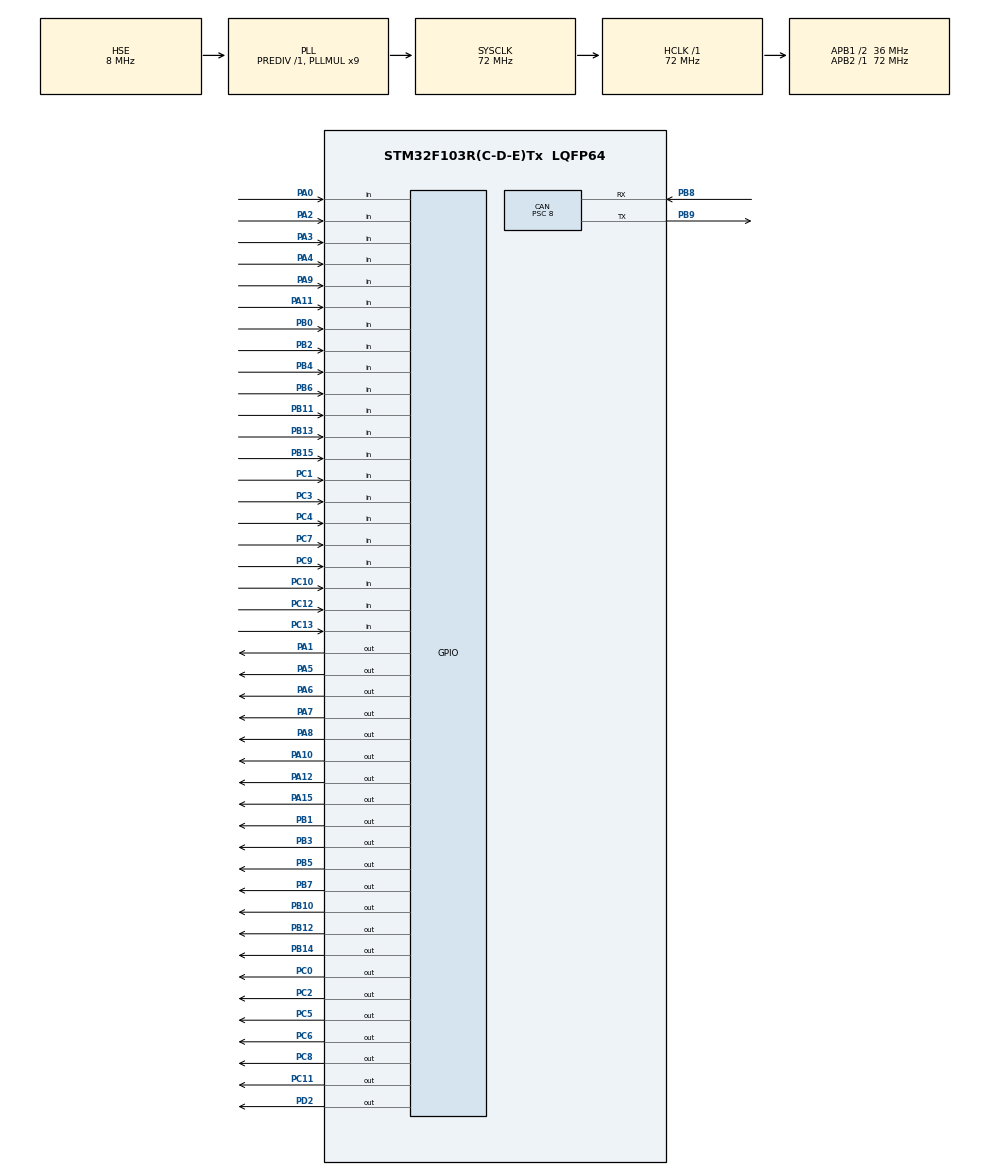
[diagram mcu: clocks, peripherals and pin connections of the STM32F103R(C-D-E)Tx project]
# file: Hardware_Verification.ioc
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CAN.BS1=CAN_BS1_4TQ
CAN.BS2=CAN_BS2_4TQ
CAN.CalculateBaudRate=500000
CAN.CalculateTimeBit=2000
CAN.CalculateTimeQuantum=222.22222222222223
CAN.Prescaler=8
Mcu.Family=STM32F1
Mcu.Name=STM32F103R(C-D-E)Tx
Mcu.Package=LQFP64
NVIC.PriorityGroup=NVIC_PRIORITYGROUP_4
PA0-WKUP.GPIO_PuPd=GPIO_PULLDOWN
PA0-WKUP.Signal=GPIO_Input
PA1.PinState=GPIO_PIN_RESET
PA1.Signal=GPIO_Output
PA10.PinState=GPIO_PIN_RESET
PA10.Signal=GPIO_Output
PA11.GPIO_PuPd=GPIO_PULLUP
PA11.Signal=GPIO_Input
PA12.PinState=GPIO_PIN_RESET
PA12.Signal=GPIO_Output
PA13.Mode=Serial_Wire
PA13.Signal=SYS_JTMS-SWDIO
PA14.Mode=Serial_Wire
PA14.Signal=SYS_JTCK-SWCLK
PA15.PinState=GPIO_PIN_RESET
PA15.Signal=GPIO_Output
PA2.GPIO_PuPd=GPIO_PULLDOWN
PA2.Signal=GPIO_Input
PA3.GPIO_PuPd=GPIO_PULLUP
PA3.Signal=GPIO_Input
PA4.GPIO_PuPd=GPIO_PULLDOWN
PA4.Signal=GPIO_Input
PA5.PinState=GPIO_PIN_RESET
PA5.Signal=GPIO_Output
PA6.PinState=GPIO_PIN_RESET
PA6.Signal=GPIO_Output
PA7.PinState=GPIO_PIN_RESET
PA7.Signal=GPIO_Output
PA8.PinState=GPIO_PIN_RESET
PA8.Signal=GPIO_Output
PA9.GPIO_PuPd=GPIO_PULLUP
PA9.Signal=GPIO_Input
PB0.Signal=GPIO_Input
PB1.Signal=GPIO_Output
PB10.Signal=GPIO_Output
PB11.GPIO_PuPd=GPIO_PULLUP
PB11.Signal=GPIO_Input
PB12.Signal=GPIO_Output
PB13.Signal=GPIO_Input
PB14.Signal=GPIO_Output
PB15.Signal=GPIO_Input
PB2.Signal=GPIO_Input
PB3.Signal=GPIO_Output
PB4.Signal=GPIO_Input
PB5.Signal=GPIO_Output
PB6.Signal=GPIO_Input
PB7.Signal=GPIO_Output
PB8.Mode=CAN_Activate
PB8.Signal=CAN_RX
PB9.Mode=CAN_Activate
PB9.Signal=CAN_TX
PC0.PinState=GPIO_PIN_RESET
PC0.Signal=GPIO_Output
PC1.GPIO_PuPd=GPIO_PULLUP
PC1.Signal=GPIO_Input
PC10.GPIO_PuPd=GPIO_PULLUP
PC10.Signal=GPIO_Input
PC11.PinState=GPIO_PIN_RESET
PC11.Signal=GPIO_Output
PC12.GPIO_PuPd=GPIO_PULLUP
PC12.Signal=GPIO_Input
PC13-TAMPER-RTC.GPIO_PuPd=GPIO_PULLDOWN
PC13-TAMPER-RTC.Signal=GPIO_Input
PC14-OSC32_IN.Mode=LSE-External-Oscillator
PC14-OSC32_IN.Signal=RCC_OSC32_IN
PC15-OSC32_OUT.Mode=LSE-External-Oscillator
PC15-OSC32_OUT.Signal=RCC_OSC32_OUT
PC2.PinState=GPIO_PIN_RESET
PC2.Signal=GPIO_Output
PC3.GPIO_PuPd=GPIO_PULLUP
PC3.Signal=GPIO_Input
PC4.GPIO_PuPd=GPIO_PULLDOWN
PC4.Signal=GPIO_Input
PC5.GPIO_PuPd=GPIO_NOPULL
PC5.PinState=GPIO_PIN_RESET
PC5.Signal=GPIO_Output
PC6.PinState=GPIO_PIN_RESET
PC6.Signal=GPIO_Output
PC7.GPIO_PuPd=GPIO_PULLUP
PC7.Signal=GPIO_Input
PC8.PinState=GPIO_PIN_RESET
PC8.Signal=GPIO_Output
PC9.GPIO_PuPd=GPIO_PULLUP
PC9.Signal=GPIO_Input
PD0-OSC_IN.Mode=HSE-External-Oscillator
PD0-OSC_IN.Signal=RCC_OSC_IN
PD1-OSC_OUT.Mode=HSE-External-Oscillator
PD1-OSC_OUT.Signal=RCC_OSC_OUT
PD2.PinState=GPIO_PIN_RESET
PD2.Signal=GPIO_Output
ProjectManager.HeapSize=0x200
ProjectManager.StackSize=0x400
ProjectManager.TargetToolchain=STM32CubeIDE
RCC.AHBFreq_Value=72000000
RCC.APB1CLKDivider=RCC_HCLK_DIV2
RCC.APB1Freq_Value=36000000
RCC.APB1TimFreq_Value=72000000
RCC.APB2Freq_Value=72000000
RCC.APB2TimFreq_Value=72000000
RCC.HCLKFreq_Value=72000000
RCC.PLLMUL=RCC_PLL_MUL9
RCC.PLLSourceVirtual=RCC_PLLSOURCE_HSE
RCC.SYSCLKFreq_VALUE=72000000
RCC.SYSCLKSource=RCC_SYSCLKSOURCE_PLLCLK
RCC.USBFreq_Value=72000000
board=custom

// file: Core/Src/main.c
/* USER CODE BEGIN Header */
/**
  ******************************************************************************
  * @file           : main.c
  * @brief          : Main program body
  ******************************************************************************
  * @attention
  *
  * Copyright (c) 2025 STMicroelectronics.
  * All rights reserved.
  *
  * This software is licensed under terms that can be found in the LICENSE file
  * in the root directory of this software component.
  * If no LICENSE file comes with this software, it is provided AS-IS.
  *
  ******************************************************************************
  */
/* USER CODE END Header */
#include "main.h"
#include "can.h"
#include "gpio.h"

/* USER CODE BEGIN PTD */
typedef struct {
    GPIO_TypeDef *port;
    uint16_t pin;
    char *name;   // optional, for debug prints
} PinConfig;

typedef struct {
    GPIO_TypeDef *port;
    uint16_t pin;
    char *name;   // optional, for debug prints
    int mode; //0 for reading 1 for writing
} PinConfig_full;
/* USER CODE END PTD */

/* USER CODE BEGIN PV */

PinConfig pins_to_check_VCC[] = {
    {GPIOC, GPIO_PIN_13, "PC13"},
    {GPIOA, GPIO_PIN_4,  "PA4"},
    {GPIOA, GPIO_PIN_0,  "PA0"},	//Pins to check if shorted to VCC

};

PinConfig pins_to_check_GND[] = {
	{GPIOC, GPIO_PIN_3,  "PC3"},	//Pins to check if shorted to GND
    {GPIOA, GPIO_PIN_3,  "PA3"},
    {GPIOB, GPIO_PIN_11, "PB11"}

};

const int PINS_COUNT = sizeof(pins_to_check_VCC)/ sizeof(pins_to_check_VCC[0]); //Checks for length of
																			// Array in the VCC/GND Checks
PinConfig_full pins_full[] = {
    {GPIOC, GPIO_PIN_0,  "PC0",  1},
    {GPIOC, GPIO_PIN_1,  "PC1",  0},
    {GPIOC, GPIO_PIN_2,  "PC2",  1},
    {GPIOC, GPIO_PIN_3,  "PC3",  0},

    {GPIOA, GPIO_PIN_0,  "PA0",  0},
    {GPIOA, GPIO_PIN_1,  "PA1",  1},
    {GPIOA, GPIO_PIN_2,  "PA2",  0},
    {GPIOA, GPIO_PIN_3,  "PA3",  0},
    {GPIOA, GPIO_PIN_4,  "PA4",  0},
    {GPIOA, GPIO_PIN_5,  "PA5",  0},
    {GPIOA, GPIO_PIN_6,  "PA6",  1},
    {GPIOA, GPIO_PIN_7,  "PA7",  1},

    {GPIOC, GPIO_PIN_4,  "PC4",  0},
    {GPIOC, GPIO_PIN_5,  "PC5",  0},

    {GPIOB, GPIO_PIN_0,  "PB0",  0},
    {GPIOB, GPIO_PIN_1,  "PB1",  0},
    {GPIOB, GPIO_PIN_2,  "PB2",  0},
    {GPIOB, GPIO_PIN_10, "PB10", 0},
    {GPIOB, GPIO_PIN_11, "PB11", 0},
    {GPIOB, GPIO_PIN_12, "PB12", 0},		// Pins to check if shorted between other GPIOs
    {GPIOB, GPIO_PIN_13, "PB13", 0},
    {GPIOB, GPIO_PIN_14, "PB14", 0},
    {GPIOB, GPIO_PIN_15, "PB15", 0},

    {GPIOC, GPIO_PIN_6,  "PC6",  1},
    {GPIOC, GPIO_PIN_7,  "PC7",  0},
    {GPIOC, GPIO_PIN_8,  "PC8",  1},
    {GPIOC, GPIO_PIN_9,  "PC9",  0},

    {GPIOA, GPIO_PIN_8,  "PA8",  1},
    {GPIOA, GPIO_PIN_9,  "PA9",  0},
    {GPIOA, GPIO_PIN_10, "PA10", 1},
    {GPIOA, GPIO_PIN_11, "PA11", 0},
    {GPIOA, GPIO_PIN_12, "PA12", 1},
    {GPIOA, GPIO_PIN_15, "PA15", 0},

    {GPIOC, GPIO_PIN_10, "PC10", 0},
    {GPIOC, GPIO_PIN_11, "PC11", 0},
    {GPIOC, GPIO_PIN_12, "PC12", 0},

    {GPIOD, GPIO_PIN_2,  "PD2",  0},

    {GPIOB, GPIO_PIN_3,  "PB3",  0},
    {GPIOB, GPIO_PIN_4,  "PB4",  0},
    {GPIOB, GPIO_PIN_5,  "PB5",  0},
    {GPIOB, GPIO_PIN_6,  "PB6",  0},
    {GPIOB, GPIO_PIN_7,  "PB7",  0}
};

const int PINS_ALL_COUNT = sizeof(pins_full) / sizeof(pins_full[0]);//Checks for length of
int MAX_PINS = 64;													// Array in the GPIO checks

/* USER CODE END PV */

void SystemClock_Config(void);

int main(void)
{

  /* USER CODE BEGIN 1 */

	int short_flag = 0;

  /* USER CODE END 1 */

  /* MCU Configuration--------------------------------------------------------*/

  /* Reset of all peripherals, Initializes the Flash interface and the Systick. */
  HAL_Init();

  /* Configure the system clock */
  SystemClock_Config();

  /* Initialize all configured peripherals */
  MX_GPIO_Init();
  MX_CAN_Init();
  /* USER CODE BEGIN 2 */

  for(int i = 0; i<PINS_COUNT; i++){		//Pins to check for shorts between GPIO and VCC
	  uint8_t state = HAL_GPIO_ReadPin(pins_to_check_VCC[i].port, pins_to_check_VCC[i].pin);
	  if( state == 1 ) {
		  int pin_number = pins_to_check_VCC[i].pin;
		  CAN_tx_transmit_msg(pin_number);
		  short_flag = 1;
	  }

  }

  for(int i = 0; i< PINS_COUNT; i++){		//Pins to check for shorts between GPIO and GND
	  uint8_t state = HAL_GPIO_ReadPin(pins_to_check_GND[i].port, pins_to_check_GND[i].pin);
	  if( state == 0 ) {
		  int pin_number = pins_to_check_GND[i].pin;
		  CAN_tx_transmit_msg(pin_number);
		  short_flag = 1;
	  }
  }

  if(short_flag == 0){

uint8_t base[MAX_PINS];

	for(int i = 0; i<PINS_ALL_COUNT; i++) {

		base[i] = HAL_GPIO_ReadPin(pins_full[i].port, pins_full[i].pin); //All pins are read to this array

	}

	for (int i = 0; i<PINS_ALL_COUNT; i++) {	//Nested loop to check shorts between GPIO pins

		if(pins_full[i].mode == 1) { //If pin is in write mode

			//Outputs High - Checks shorts between pins with Pull-down
			HAL_GPIO_WritePin(pins_full[i].port, pins_full[i].pin, GPIO_PIN_SET);
			HAL_Delay(1);

			for (int j = 0; j<PINS_ALL_COUNT; j++) if( j!= i) {
				uint8_t in_value = HAL_GPIO_ReadPin(pins_full[j].port, pins_full[j].pin);
				if(base[j] == 0 && in_value == 1){ //if statement checks if values being read changed
					  int pin_number = pins_full[i].pin;
						  CAN_tx_transmit_msg(pin_number);
						  short_flag = 1;
				}
			}

			//Outputs Low  - Checks shorts between pins with Pull-up
			HAL_GPIO_WritePin(pins_full[i].port, pins_full[i].pin, GPIO_PIN_RESET);
			HAL_Delay(1);

			for (int j = 0; j<PINS_ALL_COUNT; j++) if( j!= i) {
				uint8_t in_value = HAL_GPIO_ReadPin(pins_full[j].port, pins_full[j].pin);
				if(base[j] == 1 && in_value == 0){ //if statement checks if values being read changed
					  int pin_number = pins_full[i].pin;
						  CAN_tx_transmit_msg(pin_number);
						  short_flag = 1;

				}
			}

		}

	}

  }

  /* USER CODE END 2 */

  /* Infinite loop */
  while (1)
  {

    /* USER CODE BEGIN 3 */

/* ADD Logic in here to turn on DEBUG LED if CAN_messages are received */

  }
  /* USER CODE END 3 */
}

void SystemClock_Config(void)
{
  RCC_OscInitTypeDef RCC_OscInitStruct = {0};
  RCC_ClkInitTypeDef RCC_ClkInitStruct = {0};

  /** Initializes the RCC Oscillators according to the specified parameters
  * in the RCC_OscInitTypeDef structure.
  */
  RCC_OscInitStruct.OscillatorType = RCC_OSCILLATORTYPE_HSE;
  RCC_OscInitStruct.HSEState = RCC_HSE_ON;
  RCC_OscInitStruct.HSEPredivValue = RCC_HSE_PREDIV_DIV1;
  RCC_OscInitStruct.HSIState = RCC_HSI_ON;
  RCC_OscInitStruct.PLL.PLLState = RCC_PLL_ON;
  RCC_OscInitStruct.PLL.PLLSource = RCC_PLLSOURCE_HSE;
  RCC_OscInitStruct.PLL.PLLMUL = RCC_PLL_MUL9;
  if (HAL_RCC_OscConfig(&RCC_OscInitStruct) != HAL_OK)
  {
    Error_Handler();
  }

  /** Initializes the CPU, AHB and APB buses clocks
  */
  RCC_ClkInitStruct.ClockType = RCC_CLOCKTYPE_HCLK|RCC_CLOCKTYPE_SYSCLK
                              |RCC_CLOCKTYPE_PCLK1|RCC_CLOCKTYPE_PCLK2;
  RCC_ClkInitStruct.SYSCLKSource = RCC_SYSCLKSOURCE_PLLCLK;
  RCC_ClkInitStruct.AHBCLKDivider = RCC_SYSCLK_DIV1;
  RCC_ClkInitStruct.APB1CLKDivider = RCC_HCLK_DIV2;
  RCC_ClkInitStruct.APB2CLKDivider = RCC_HCLK_DIV1;

  if (HAL_RCC_ClockConfig(&RCC_ClkInitStruct, FLASH_LATENCY_2) != HAL_OK)
  {
    Error_Handler();
  }
}

void Error_Handler(void)
{
  __disable_irq();
  while (1)
  {
  }
}
